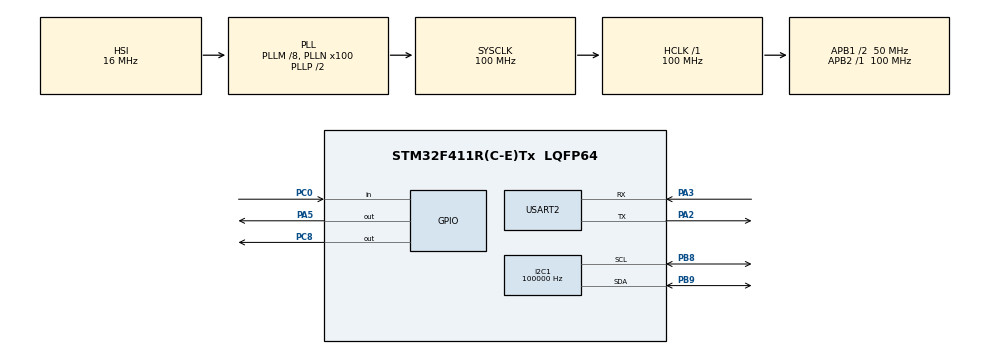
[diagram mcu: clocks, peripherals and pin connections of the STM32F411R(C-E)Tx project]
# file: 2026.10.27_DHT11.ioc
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Mcu.Family=STM32F4
Mcu.Name=STM32F411R(C-E)Tx
Mcu.Package=LQFP64
NVIC.PriorityGroup=NVIC_PRIORITYGROUP_4
PA13.Mode=Serial_Wire
PA13.Signal=SYS_JTMS-SWDIO
PA14.Mode=Serial_Wire
PA14.Signal=SYS_JTCK-SWCLK
PA2.Mode=Asynchronous
PA2.Signal=USART2_TX
PA3.Mode=Asynchronous
PA3.Signal=USART2_RX
PA5.Signal=GPIO_Output
PC0.Signal=GPIO_Input
PC8.Signal=GPIO_Output
PH0\ -\ OSC_IN.Mode=HSE-External-Oscillator
PH0\ -\ OSC_IN.Signal=RCC_OSC_IN
PH1\ -\ OSC_OUT.Mode=HSE-External-Oscillator
PH1\ -\ OSC_OUT.Signal=RCC_OSC_OUT
ProjectManager.HeapSize=0x200
ProjectManager.StackSize=0x400
ProjectManager.TargetToolchain=STM32CubeIDE
RCC.48MHZClocksFreq_Value=50000000
RCC.AHBFreq_Value=100000000
RCC.APB1CLKDivider=RCC_HCLK_DIV2
RCC.APB1Freq_Value=50000000
RCC.APB1TimFreq_Value=100000000
RCC.APB2Freq_Value=100000000
RCC.APB2TimFreq_Value=100000000
RCC.CortexFreq_Value=100000000
RCC.HCLKFreq_Value=100000000
RCC.HSE_VALUE=8000000
RCC.HSI_VALUE=16000000
RCC.LSE_VALUE=32768
RCC.PLLM=8
RCC.PLLN=100
RCC.SYSCLKFreq_VALUE=100000000
RCC.SYSCLKSource=RCC_SYSCLKSOURCE_PLLCLK
RCC.VCOOutputFreq_Value=200000000
USART2.VirtualMode=VM_ASYNC
board=custom
I2C1.ClockSpeed=100000
PB8.Mode=I2C
PB8.Signal=I2C1_SCL
PB9.Mode=I2C
PB9.Signal=I2C1_SDA

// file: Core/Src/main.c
/* USER CODE BEGIN Header */
/**
 ******************************************************************************
 * @file           : main.c
 * @brief          : Main program body
 ******************************************************************************
 * @attention
 *
 * Copyright (c) 2026 STMicroelectronics.
 * All rights reserved.
 *
 * This software is licensed under terms that can be found in the LICENSE file
 * in the root directory of this software component.
 * If no LICENSE file comes with this software, it is provided AS-IS.
 *
 ******************************************************************************
 */
/* USER CODE END Header */
#include "main.h"

/* USER CODE BEGIN Includes */
#include <stdio.h>

#include "ap/ap_main.h"
/* USER CODE END Includes */

I2C_HandleTypeDef hi2c1;
UART_HandleTypeDef huart2;

void SystemClock_Config(void);
static void MX_GPIO_Init(void);
static void MX_I2C1_Init(void);
static void MX_USART2_UART_Init(void);

/* USER CODE BEGIN 0 */
int __io_putchar(int ch)
{
    uint8_t byte = (uint8_t)ch;
    HAL_UART_Transmit(&huart2, &byte, 1, HAL_MAX_DELAY);
    return ch;
}

void power_indicator(void)
{
    static uint32_t prev_time = 0;
    uint32_t now = HAL_GetTick();
    if ((uint32_t)(now - prev_time) >= 200U) {
        prev_time = now;
        HAL_GPIO_TogglePin(GPIOA, GPIO_PIN_5);
    }
}
/* USER CODE END 0 */

int main(void)
{

	/* MCU Configuration--------------------------------------------------------*/

	/* Reset of all peripherals, Initializes the Flash interface and the Systick. */
	HAL_Init();

	/* Configure the system clock */
	SystemClock_Config();

	/* Initialize all configured peripherals */
	MX_GPIO_Init();
	MX_USART2_UART_Init();
    MX_I2C1_Init();
	/* USER CODE BEGIN 2 */
    ap_init();
    /* USER CODE END 2 */

	/* Infinite loop */
	/* USER CODE BEGIN WHILE */
    while (1)
    {
        power_indicator();
        ap_main();
        /* USER CODE END WHILE */

    }
}

void SystemClock_Config(void)
{
	RCC_OscInitTypeDef RCC_OscInitStruct = {0};
	RCC_ClkInitTypeDef RCC_ClkInitStruct = {0};

	/** Configure the main internal regulator output voltage
	 */
	__HAL_RCC_PWR_CLK_ENABLE();
	__HAL_PWR_VOLTAGESCALING_CONFIG(PWR_REGULATOR_VOLTAGE_SCALE1);

	/** Initializes the RCC Oscillators according to the specified parameters
	 * in the RCC_OscInitTypeDef structure.
	 */
	RCC_OscInitStruct.OscillatorType = RCC_OSCILLATORTYPE_HSI;
	RCC_OscInitStruct.HSIState = RCC_HSI_ON;
	RCC_OscInitStruct.HSICalibrationValue = RCC_HSICALIBRATION_DEFAULT;
	RCC_OscInitStruct.PLL.PLLState = RCC_PLL_ON;
	RCC_OscInitStruct.PLL.PLLSource = RCC_PLLSOURCE_HSI;
	RCC_OscInitStruct.PLL.PLLM = 8;
	RCC_OscInitStruct.PLL.PLLN = 100;
	RCC_OscInitStruct.PLL.PLLP = RCC_PLLP_DIV2;
	RCC_OscInitStruct.PLL.PLLQ = 4;
	if (HAL_RCC_OscConfig(&RCC_OscInitStruct) != HAL_OK)
	{
		Error_Handler();
	}

	/** Initializes the CPU, AHB and APB buses clocks
	 */
	RCC_ClkInitStruct.ClockType = RCC_CLOCKTYPE_HCLK|RCC_CLOCKTYPE_SYSCLK
			|RCC_CLOCKTYPE_PCLK1|RCC_CLOCKTYPE_PCLK2;
	RCC_ClkInitStruct.SYSCLKSource = RCC_SYSCLKSOURCE_PLLCLK;
	RCC_ClkInitStruct.AHBCLKDivider = RCC_SYSCLK_DIV1;
	RCC_ClkInitStruct.APB1CLKDivider = RCC_HCLK_DIV2;
	RCC_ClkInitStruct.APB2CLKDivider = RCC_HCLK_DIV1;

	if (HAL_RCC_ClockConfig(&RCC_ClkInitStruct, FLASH_LATENCY_3) != HAL_OK)
	{
		Error_Handler();
	}
}

static void MX_USART2_UART_Init(void)
{

	huart2.Instance = USART2;
	huart2.Init.BaudRate = 115200;
	huart2.Init.WordLength = UART_WORDLENGTH_8B;
	huart2.Init.StopBits = UART_STOPBITS_1;
	huart2.Init.Parity = UART_PARITY_NONE;
	huart2.Init.Mode = UART_MODE_TX_RX;
	huart2.Init.HwFlowCtl = UART_HWCONTROL_NONE;
	huart2.Init.OverSampling = UART_OVERSAMPLING_16;
	if (HAL_UART_Init(&huart2) != HAL_OK)
	{
		Error_Handler();
	}

}

static void MX_GPIO_Init(void)
{
	GPIO_InitTypeDef GPIO_InitStruct = {0};

	/* GPIO Ports Clock Enable */
	__HAL_RCC_GPIOH_CLK_ENABLE();
	__HAL_RCC_GPIOC_CLK_ENABLE();
	__HAL_RCC_GPIOA_CLK_ENABLE();

	/*Configure GPIO pin Output Level */
	HAL_GPIO_WritePin(GPIOA, GPIO_PIN_5, GPIO_PIN_RESET);

	/*Configure GPIO pin Output Level */
	HAL_GPIO_WritePin(GPIOC, GPIO_PIN_8, GPIO_PIN_RESET);

	/*Configure GPIO pin : PC0 */
	GPIO_InitStruct.Pin = GPIO_PIN_0;
	GPIO_InitStruct.Mode = GPIO_MODE_INPUT;
	GPIO_InitStruct.Pull = GPIO_NOPULL;
	HAL_GPIO_Init(GPIOC, &GPIO_InitStruct);

	/*Configure GPIO pin : PA5 */
	GPIO_InitStruct.Pin = GPIO_PIN_5;
	GPIO_InitStruct.Mode = GPIO_MODE_OUTPUT_PP;
	GPIO_InitStruct.Pull = GPIO_NOPULL;
	GPIO_InitStruct.Speed = GPIO_SPEED_FREQ_LOW;
	HAL_GPIO_Init(GPIOA, &GPIO_InitStruct);

	/*Configure GPIO pin : PC8 */
	GPIO_InitStruct.Pin = GPIO_PIN_8;
	GPIO_InitStruct.Mode = GPIO_MODE_OUTPUT_PP;
	GPIO_InitStruct.Pull = GPIO_NOPULL;
	GPIO_InitStruct.Speed = GPIO_SPEED_FREQ_LOW;
	HAL_GPIO_Init(GPIOC, &GPIO_InitStruct);

}

static void MX_I2C1_Init(void)
{
    hi2c1.Instance = I2C1;
    hi2c1.Init.ClockSpeed = 100000;
    hi2c1.Init.DutyCycle = I2C_DUTYCYCLE_2;
    hi2c1.Init.OwnAddress1 = 0;
    hi2c1.Init.AddressingMode = I2C_ADDRESSINGMODE_7BIT;
    hi2c1.Init.DualAddressMode = I2C_DUALADDRESS_DISABLE;
    hi2c1.Init.OwnAddress2 = 0;
    hi2c1.Init.GeneralCallMode = I2C_GENERALCALL_DISABLE;
    hi2c1.Init.NoStretchMode = I2C_NOSTRETCH_DISABLE;
    if (HAL_I2C_Init(&hi2c1) != HAL_OK) Error_Handler();
}

void Error_Handler(void)
{
	__disable_irq();
	while (1)
	{
	}
}
